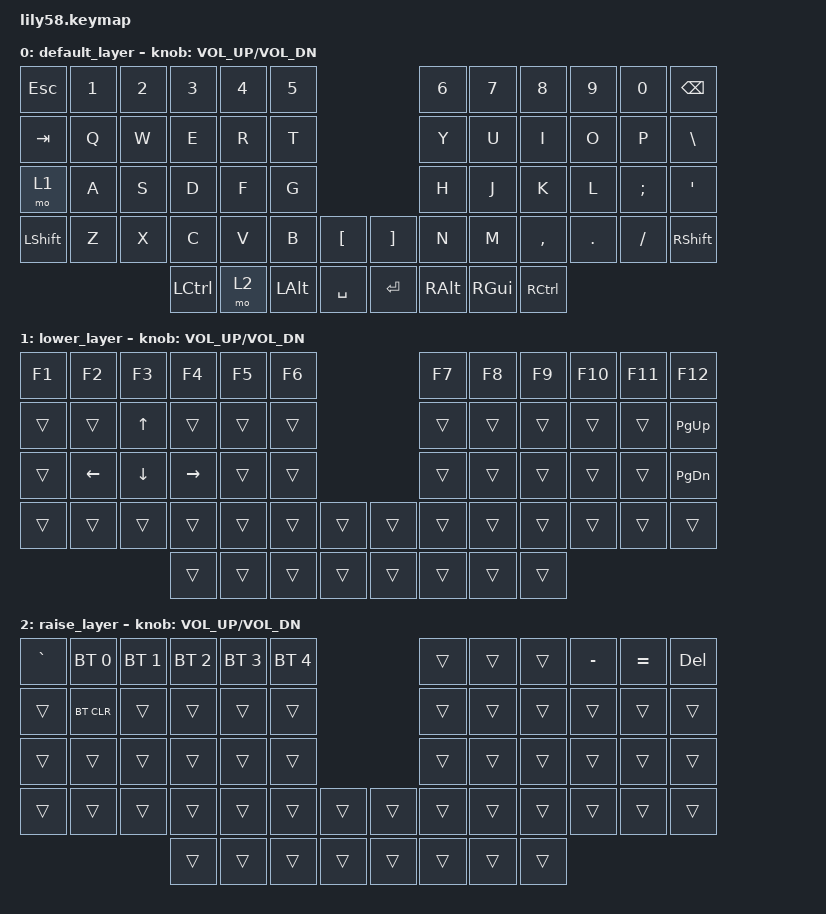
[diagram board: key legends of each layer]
/*
 * Copyright (c) 2020 The ZMK Contributors
 *
 * SPDX-License-Identifier: MIT
 */

#include <behaviors.dtsi>
#include <dt-bindings/zmk/keys.h>
#include <dt-bindings/zmk/bt.h>
#include <dt-bindings/zmk/ext_power.h>

/ {
	keymap {
		compatible = "zmk,keymap";

		default_layer {
// ------------------------------------------------------------------------------------------------------------
// |  ESC  |  1  |  2  |  3   |   4   |  5  |                  |  6   |  7  |  8   |  9   |   0   | BKSPC |
// |  TAB  |  Q  |  W  |  E   |   R   |  T  |                  |  Y   |  U  |  I   |  O   |   P   |   \   |
// | LOWER |  A  |  S  |  D   |   F   |  G  |                  |  H   |  J  |  K   |  L   |   ;   |   '   |
// | SHIFT |  Z  |  X  |  C   |   V   |  B  |  "["  |  |  "]"  |  N   |  M  |  ,   |  .   |   /   | SHIFT |
//                     | CTRL | RAISE | ALT | SPACE |  | ENTER | RALT | WIN | CTRL |
			bindings = <
&kp ESC   &kp N1 &kp N2 &kp N3    &kp N4   &kp N5                   		&kp N6 	  &kp N7    &kp N8     &kp N9  &kp N0   &kp BSPC
&kp TAB   &kp Q  &kp W  &kp E     &kp R    &kp T                    		&kp Y  	  &kp U     &kp I      &kp O   &kp P    &kp BSLH
&mo 1 	  &kp A  &kp S  &kp D     &kp F    &kp G                    		&kp H  	  &kp J     &kp K      &kp L   &kp SEMI &kp SQT
&kp LSHFT &kp Z  &kp X  &kp C     &kp V    &kp B  	&kp LBKT     &kp RBKT 	&kp N     &kp M     &kp COMMA  &kp DOT &kp FSLH &kp RSHFT
                        &kp LCTRL &mo 2    &kp LALT  	&kp SPACE    &kp RET  	&kp RALT  &kp RGUI  &kp RCTRL
			>; 

			sensor-bindings = <&inc_dec_kp C_VOL_UP C_VOL_DN>;
		};

		lower_layer {
// ------------------------------------------------------------------------------------------------------------
// |   F1   |  F2  |  F3  |  F4   |  F5  |  F6  |                 |  F7  |  F8  |  F9  |  F10  |  F11  |  F12  |
// |        |      |  UP  |       |      |      |                 |      |      |      |       |       | PG_UP |
// |        | LEFT | DOWN | RIGHT |      |      |                 |      |      |      |       |       | PG_DN |
// |        |      |      |       |      |      |       |  |      |      |      |      |       |       |       |
//                        |       |      |      |       |  |      |      |      |      |
			bindings = <
&kp F1     &kp F2    &kp F3    &kp F4       &kp F5       &kp F6                      	   &kp F7   &kp F8  &kp F9  &kp F10  &kp F11  &kp F12
&trans     &trans    &kp UP    &trans       &trans       &trans              	    	   &trans   &trans  &trans  &trans   &trans   &kp PG_UP
&trans     &kp LEFT  &kp DOWN  &kp RIGHT    &trans       &trans                     	   &trans   &trans  &trans  &trans   &trans   &kp PG_DN
&trans     &trans    &trans    &trans       &trans       &trans       &trans   &trans 	   &trans   &trans  &trans  &trans   &trans   &trans
                                            &trans       &trans       &trans   &trans      &trans   &trans  &trans  &trans
			>;
			
			sensor-bindings = <&inc_dec_kp C_VOL_UP C_VOL_DN>;
		};

		raise_layer {
// ------------------------------------------------------------------------------------------------------------
// |   `    |  BT_1  | BT_2 | BT_3 | BT_4 | BT_5 |               |     |     |     |  -  |  =  | DEL |
// |        | BT_CLR |      |      |      |      |               |     |     |     |     |     |     |
// |        |        |      |      |      |      |               |     |     |     |     |     |     |
// |        |        |      |      |      |      |      |  |     |     |     |     |     |     |     |
//                          |      |      |      |      |  |     |     |     |     |
			bindings = <
&kp GRAVE   &bt BT_SEL 0 &bt BT_SEL 1  &bt BT_SEL 2  &bt BT_SEL 3  &bt BT_SEL 4                         &trans    &trans    &trans    &kp MINUS  &kp EQUAL  &kp DEL
&trans      &bt BT_CLR   &trans        &trans        &trans        &trans                               &trans    &trans    &trans    &trans     &trans     &trans
&trans      &trans       &trans        &trans        &trans        &trans                               &trans    &trans    &trans    &trans     &trans     &trans
&trans      &trans       &trans        &trans        &trans        &trans        &trans   &trans        &trans    &trans    &trans    &trans     &trans     &trans
                                       &trans        &trans        &trans        &trans   &trans        &trans    &trans    &trans
			>;

			sensor-bindings = <&inc_dec_kp C_VOL_UP C_VOL_DN>;
		};
	};
};
